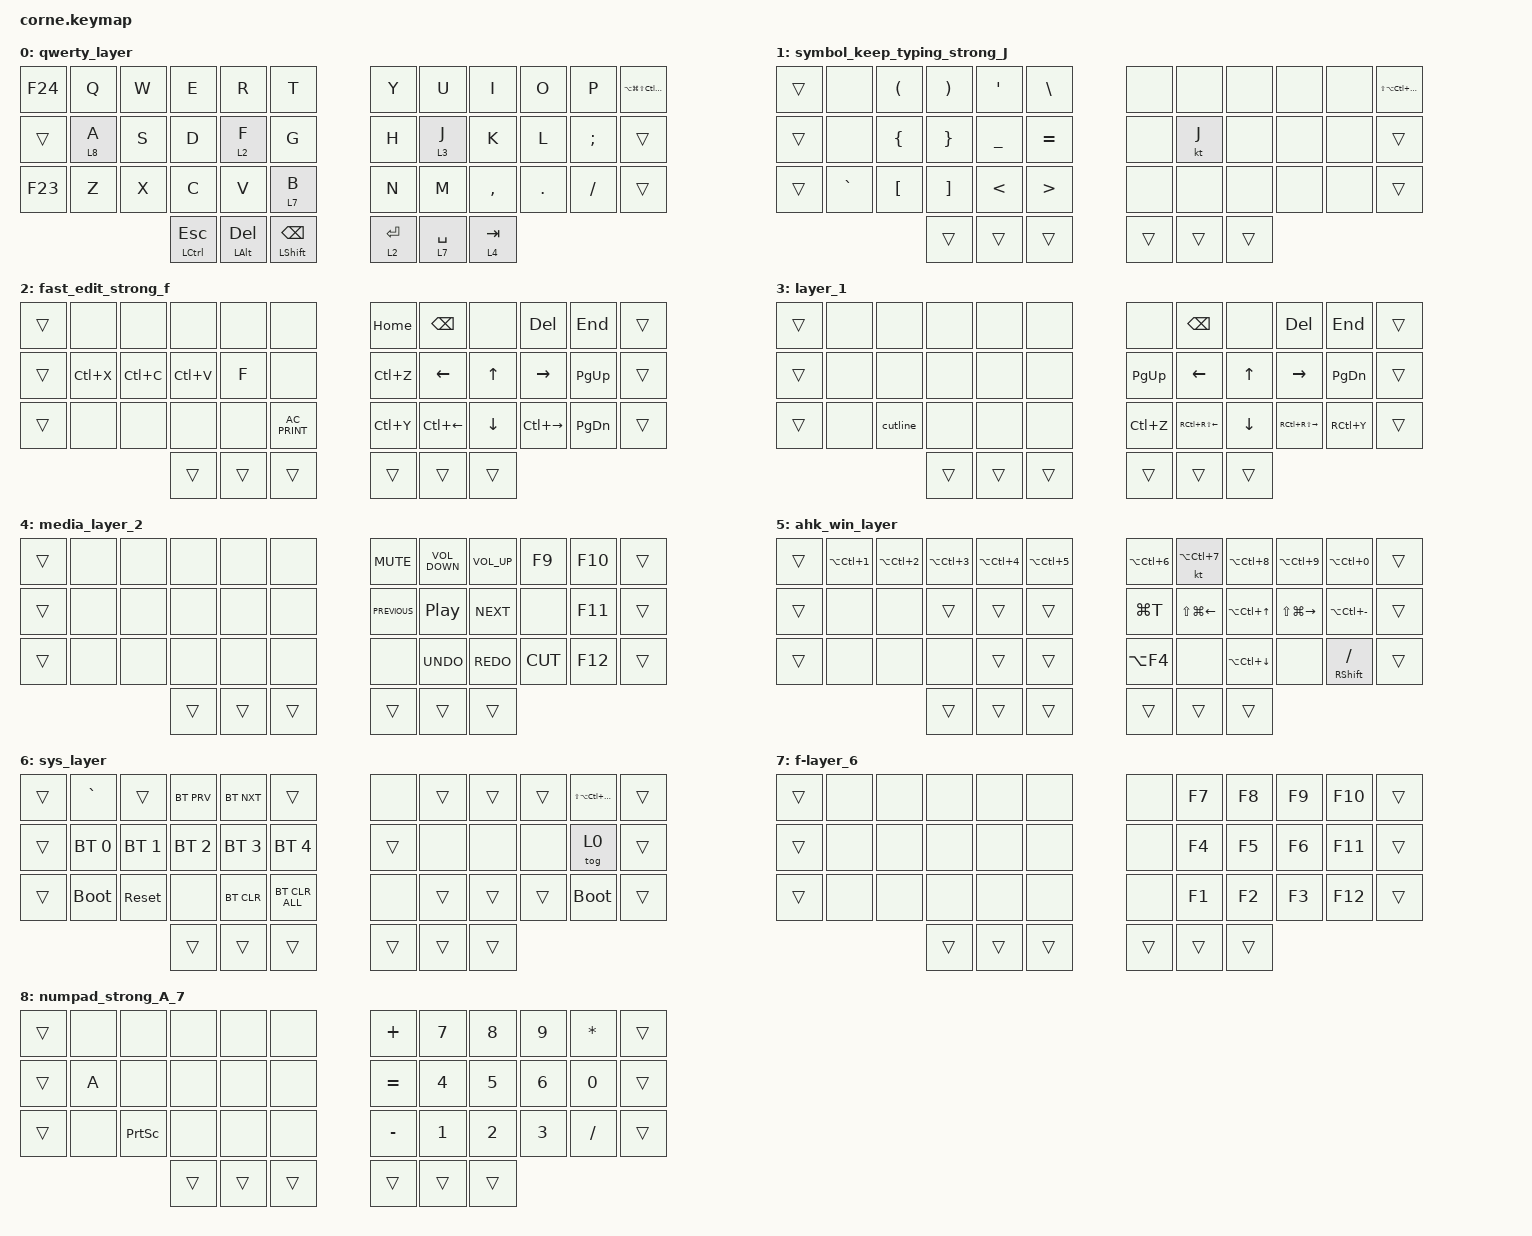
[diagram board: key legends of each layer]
/*
 * Copyright (c) 2020 The ZMK Contributors
 *
 * SPDX-License-Identifier: MIT
 * https://nickcoutsos.github.io/keymap-editor/
 * https://github.com/caksoylar/keymap-drawer
 
 */

#include <behaviors.dtsi>
#include <dt-bindings/zmk/bt.h>
#include <dt-bindings/zmk/keys.h>
#include <dt-bindings/zmk/keys.h>

&mt {
    tapping-term-ms = <400>;
    quick-tap-ms = <175>;
    require-prior-idle-ms = <150>;
    flavor = "balanced";
};

&lt { tapping-term-ms = <400>; };

/ {
    combos {
        compatible = "zmk,combos";

        combo_left {
            bindings = <&kp LEFT>;
            key-positions = <19 20>;
        };

        combo_right {
            bindings = <&kp RIGHT>;
            key-positions = <20 21>;
        };

        combo_up {
            bindings = <&kp UP_ARROW>;
            key-positions = <19 8>;
        };

        combo_down {
            bindings = <&kp DOWN>;
            key-positions = <19 32>;
        };

        combo_home {
            bindings = <&kp HOME>;
            key-positions = <19 10>;
        };

        combo_end {
            bindings = <&kp END>;
            key-positions = <19 34>;
        };

        combo_PgUp {
            bindings = <&kp PAGE_UP>;
            key-positions = <19 9>;
        };

        combo_PgDn {
            bindings = <&kp PAGE_DOWN>;
            key-positions = <19 33>;
        };

        combo_underscore {
            bindings = <&kp UNDERSCORE>;
            key-positions = <27 28>;
        };

        combo_win {
            bindings = <&kp LEFT_WIN>;
            key-positions = <29 37>;
        };

        combo_layer_ahk_win_3 {
            bindings = <&lt 5 UNDERSCORE>;
            key-positions = <39 40>;
        };

        combo_context {
            bindings = <&kp K_CONTEXT_MENU>;
            key-positions = <31 41>;
        };

        combo_boot_r {
            bindings = <&bootloader>;
            key-positions = <41 34>;
        };

        combo_boot_l {
            bindings = <&bootloader>;
            key-positions = <36 25>;
        };

        combo_disp_5_sys_layer {
            bindings = <&kp LA(LG(F23))>;
            key-positions = <1 13 25>;
            layers = <0>;
        };

        combo_tog_layer_5_sys_layer {
            bindings = <&lt 6 RIGHT_WIN>;
            key-positions = <35>;
            layers = <6>;
        };

        combo_ditto {
            bindings = <&kp LC(GRAVE)>;
            key-positions = <16 4>;
        };

        combo_magid_wand {
            bindings = <&kp GRAVE>;
            key-positions = <5 17>;
        };

        combo_win_r {
            bindings = <&kp RIGHT_WIN>;
            key-positions = <40 30>;
        };

        combo_disp_1_num_layer {
            bindings = <&kp LA(LG(F24))>;
            key-positions = <1 13 25>;
            layers = <4>;
        };

        combo_tab {
            bindings = <&kp TAB>;
            key-positions = <12 13>;
        };

        Combo_nump_1_Step1 {
            bindings = <&kp KP_NUMBER_1>;
            key-positions = <25 13>;
        };

        toggle_layer_Num_7 {
            bindings = <&tog 8>;
            key-positions = <34 22>;
        };

        F24-key_ahk_mute_teams {
            bindings = <&kp F24>;
            key-positions = <33 34 22>;
        };
    };

    conditional_layers { compatible = "zmk,conditional-layers"; };

    behaviors {
        hmr: homerow_mods {
            compatible = "zmk,behavior-hold-tap";
            label = "HOMEROW_MODS";
            bindings = <&kp>, <&kp>;

            #binding-cells = <2>;
            tapping-term-ms = <200>;
            flavor = "tap-preferred";
        };

        hlt: hold_and_tab {
            compatible = "zmk,behavior-hold-tap";
            label = "HOLD_AND_TAB";
            bindings = <&kp>, <&kp>;

            #binding-cells = <2>;
            tapping-term-ms = <200>;
            flavor = "tap-preferred";
        };

        td_q: td_q {
            compatible = "zmk,behavior-tap-dance";
            label = "TD_Q";
            #binding-cells = <0>;
            bindings = <&kp Q>, <&none>, <&kp LA(LC(NUMBER_6))>;
        };
    };

    macros {
        cutline: cutline {
            compatible = "zmk,behavior-macro";
            #binding-cells = <0>;
            bindings = <&kt HOME &kp LC(LS(END)) &kp LC(X) &kp DELETE>;
            label = "CUTLINE";
        };
    };

    keymap {
        compatible = "zmk,keymap";

        qwerty_layer {
            bindings = <
&kp F24  &kp Q    &kp W  &kp E                     &kp R                 &kp T                        &kp Y        &kp U        &kp I      &kp O    &kp P          &kp LA(LG(LS(LC(F1))))
&trans   &lt 8 A  &kp S  &kp D                     &lt 2 F               &kp G                        &kp H        &lt 3 J      &kp K      &kp L    &kp SEMICOLON  &trans
&kp F23  &kp Z    &kp X  &kp C                     &kp V                 &lt 7 B                      &kp N        &kp M        &kp COMMA  &kp DOT  &kp SLASH      &trans
                         &hlt LEFT_CONTROL ESCAPE  &hlt LEFT_ALT DELETE  &hlt LEFT_SHIFT BACKSPACE    &lt 2 ENTER  &lt 7 SPACE  &lt 4 TAB
            >;
        };

        symbol_keep_typing_strong_J {
            bindings = <
&trans  &none      &kp LEFT_PARENTHESIS  &kp RIGHT_PARENTHESIS  &kp SINGLE_QUOTE  &kp BACKSLASH       &none   &none   &none   &none  &none  &kp LS(LA(LC(LG(F1))))
&trans  &none      &kp LEFT_BRACE        &kp RIGHT_BRACE        &kp UNDER         &kp EQUAL           &none   &kt J   &none   &none  &none  &trans
&trans  &kp GRAVE  &kp LEFT_BRACKET      &kp RIGHT_BRACKET      &kp LESS_THAN     &kp GREATER_THAN    &none   &none   &none   &none  &none  &trans
                                         &trans                 &trans            &trans              &trans  &trans  &trans
            >;
        };

        fast_edit_strong_f {
            bindings = <
&trans  &none      &none      &none      &none   &none             &kp HOME   &kp BACKSPACE  &none         &kp DELETE     &kp END        &trans
&trans  &kp LC(X)  &kp LC(C)  &kp LC(V)  &kp F   &none             &kp LC(Z)  &kp LEFT       &kp UP_ARROW  &kp RIGHT      &kp PG_UP      &trans
&trans  &none      &none      &none      &none   &kp C_AC_PRINT    &kp LC(Y)  &kp LC(LEFT)   &kp DOWN      &kp LC(RIGHT)  &kp PAGE_DOWN  &trans
                              &trans     &trans  &trans            &trans     &trans         &trans
            >;
        };

        layer_1 {
            bindings = <
&trans  &none  &none     &none   &none   &none     &none        &kp BACKSPACE     &none         &kp DELETE         &kp END        &trans
&trans  &none  &none     &none   &none   &none     &kp PAGE_UP  &kp LEFT          &kp UP_ARROW  &kp RIGHT          &kp PAGE_DOWN  &trans
&trans  &none  &cutline  &none   &none   &none     &kp LC(Z)    &kp RC(RS(LEFT))  &kp DOWN      &kp RC(RS(RIGHT))  &kp RC(Y)      &trans
                         &trans  &trans  &trans    &trans       &trans            &trans
            >;
        };

        media_layer_2 {
            bindings = <
&trans  &none  &none  &none   &none   &none     &kp C_MUTE      &kp C_VOLUME_DOWN  &kp C_VOLUME_UP  &kp F9     &kp F10  &trans
&trans  &none  &none  &none   &none   &none     &kp C_PREVIOUS  &kp C_PLAY_PAUSE   &kp C_NEXT       &none      &kp F11  &trans
&trans  &none  &none  &none   &none   &none     &none           &kp K_UNDO         &kp K_REDO       &kp K_CUT  &kp F12  &trans
                      &trans  &trans  &trans    &trans          &trans             &trans
            >;
        };

        ahk_win_layer {
            bindings = <
&trans  &kp LA(LC(NUMBER_1))  &kp LA(LC(NUMBER_2))  &kp LA(LC(NUMBER_3))  &kp LA(LC(NUMBER_4))  &kp LA(LC(NUMBER_5))    &kp LA(LC(NUMBER_6))  &kt LA(LC(N7))    &kp LA(LC(N8))        &kp LA(LC(NUMBER_9))  &kp LA(LC(N0))          &trans
&trans  &none                 &none                 &trans                &trans                &trans                  &kp LG(T)             &kp LS(LG(LEFT))  &kp LA(LC(UP_ARROW))  &kp LS(LG(RIGHT))     &kp LA(LC(MINUS))       &trans
&trans  &none                 &none                 &none                 &trans                &trans                  &kp LA(F4)            &none             &kp LA(LC(DOWN))      &none                 &hmr RIGHT_SHIFT SLASH  &trans
                                                    &trans                &trans                &trans                  &trans                &trans            &trans
            >;
        };

        sys_layer {
            bindings = <
&trans  &kp GRAVE     &trans        &bt BT_PRV    &bt BT_NXT    &trans            &none   &trans  &trans  &trans  &kp LS(LA(LC(LG(F23))))  &trans
&trans  &bt BT_SEL 0  &bt BT_SEL 1  &bt BT_SEL 2  &bt BT_SEL 3  &bt BT_SEL 4      &trans  &none   &none   &none   &tog 0                   &trans
&trans  &bootloader   &sys_reset    &none         &bt BT_CLR    &bt BT_CLR_ALL    &none   &trans  &trans  &trans  &bootloader              &trans
                                    &trans        &trans        &trans            &trans  &trans  &trans
            >;
        };

        f-layer_6 {
            bindings = <
&trans  &none  &none  &none   &none   &none     &none   &kp F7  &kp F8  &kp F9  &kp F10  &trans
&trans  &none  &none  &none   &none   &none     &none   &kp F4  &kp F5  &kp F6  &kp F11  &trans
&trans  &none  &none  &none   &none   &none     &none   &kp F1  &kp F2  &kp F3  &kp F12  &trans
                      &trans  &trans  &trans    &trans  &trans  &trans
            >;
        };

        numpad_strong_A_7 {
            bindings = <
&trans  &none  &none            &none   &none   &none     &kp PLUS   &kp N7        &kp N8        &kp N9        &kp ASTERISK  &trans
&trans  &kp A  &none            &none   &none   &none     &kp EQUAL  &kp NUMBER_4  &kp N5        &kp NUMBER_6  &kp N0        &trans
&trans  &none  &kp PRINTSCREEN  &none   &none   &none     &kp MINUS  &kp NUMBER_1  &kp NUMBER_2  &kp NUMBER_3  &kp SLASH     &trans
                                &trans  &trans  &trans    &trans     &trans        &trans
            >;
        };
    };
};
